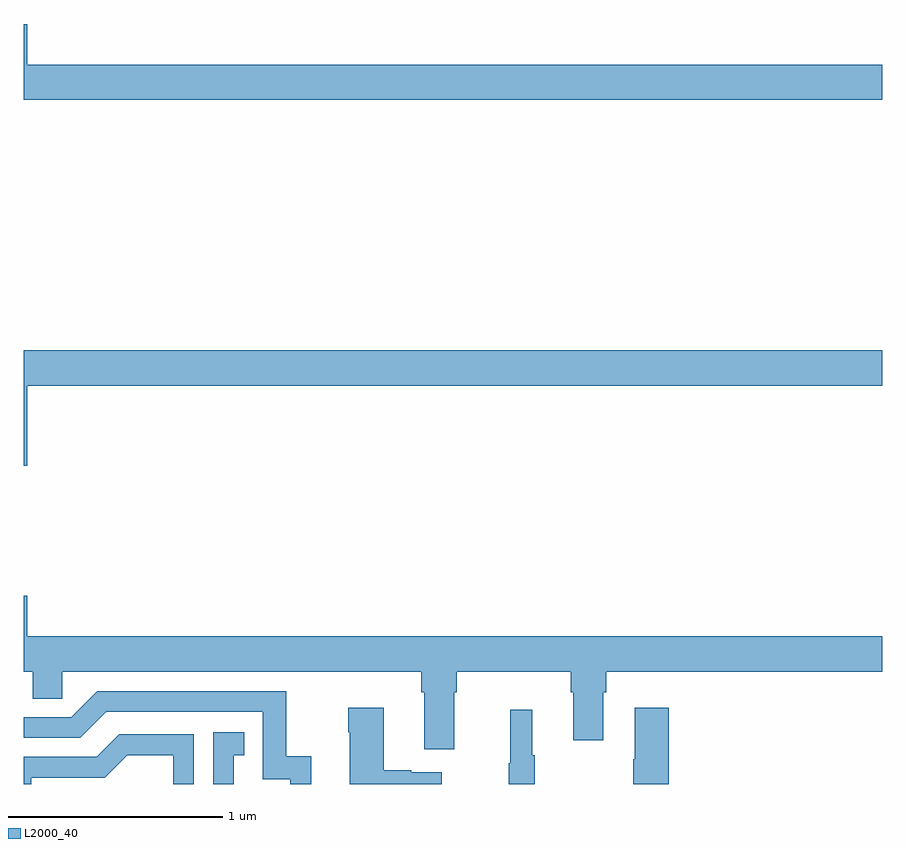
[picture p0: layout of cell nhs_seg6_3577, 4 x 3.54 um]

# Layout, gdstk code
import gdstk
lib = gdstk.Library(unit=1e-6, precision=1e-09)
def P(c, l, *ps):  # polygons
    for p in ps: c.add(gdstk.Polygon(p, *l))
L2000_40 = (2000, 40)

nhs_seg6_3577 = lib.new_cell('nhs_seg6_3577')
P(nhs_seg6_3577, L2000_40, [(325,928.852),(321.016,928.852),(321.016,929.041),(321,929.041),(321,928.688),(325,928.688)],
  [(321.016,927.356),(325,927.356),(325,927.52),(321,927.52),(321,926.982),(321.016,926.982)],
  [(323.005,925.928),(323.018,925.928),(323.018,926.024),(323.549,926.024),(323.549,925.928),(323.561,925.928),(323.561,925.704),(323.701,925.704),(323.701,925.928),(323.714,925.928),(323.714,926.024),(325,926.024),(325,926.188),(321.016,926.188),(321.016,926.377),(321,926.377),(321,926.024),(321.041,926.024),(321.041,925.897),(321.18,925.897),(321.18,926.024),(322.853,926.024),(322.853,925.928),(322.865,925.928),(322.865,925.662),(323.005,925.662)],
  [(322.34,925.63),(322.222,925.63),(322.222,925.932),(321.342,925.932),(321.222,925.812),(321,925.812),(321,925.716),(321.264,925.716),(321.384,925.836),(322.113,925.836),(322.113,925.521),(322.242,925.521),(322.242,925.5),(322.34,925.5)],
  [(324.005,925.855),(323.846,925.855),(323.846,925.616),(323.839,925.616),(323.839,925.5),(324.005,925.5)],
  [(322.948,925.555),(322.805,925.555),(322.805,925.565),(322.678,925.565),(322.678,925.855),(322.513,925.855),(322.513,925.742),(322.52,925.742),(322.52,925.5),(322.948,925.5)],
  [(323.38,925.633),(323.369,925.633),(323.369,925.846),(323.266,925.846),(323.266,925.596),(323.259,925.596),(323.259,925.5),(323.38,925.5)],
  [(321.979,925.635),(322.028,925.635),(322.028,925.741),(321.882,925.741),(321.882,925.5),(321.979,925.5)],
  [(321.036,925.53),(321.378,925.53),(321.482,925.634),(321.696,925.634),(321.696,925.5),(321.792,925.5),(321.792,925.731),(321.446,925.731),(321.341,925.626),(321,925.626),(321,925.5),(321.036,925.5)])

lib.write_gds('nhs_seg6_3577.gds')
